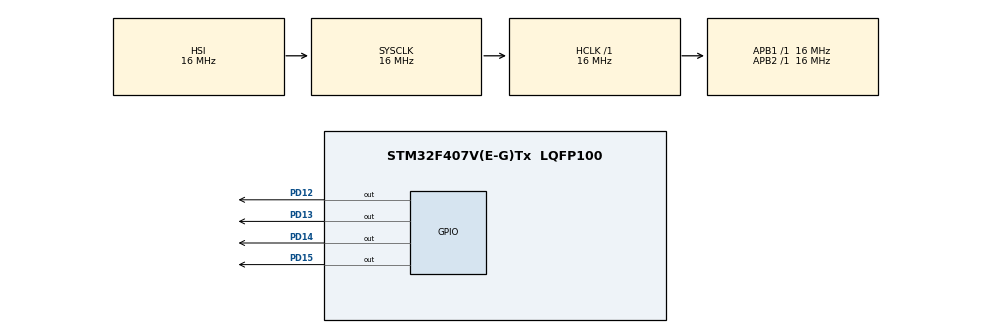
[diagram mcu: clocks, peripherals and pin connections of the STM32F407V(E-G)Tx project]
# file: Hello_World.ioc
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Mcu.Family=STM32F4
Mcu.Name=STM32F407V(E-G)Tx
Mcu.Package=LQFP100
NVIC.PriorityGroup=NVIC_PRIORITYGROUP_4
PD12.Signal=GPIO_Output
PD13.Signal=GPIO_Output
PD14.Signal=GPIO_Output
PD15.Signal=GPIO_Output
ProjectManager.HeapSize=0x200
ProjectManager.StackSize=0x400
ProjectManager.TargetToolchain=STM32CubeIDE
RCC.AHBFreq_Value=16000000
RCC.APB1Freq_Value=16000000
RCC.APB2Freq_Value=16000000
RCC.CortexFreq_Value=16000000
RCC.HSE_VALUE=25000000
RCC.HSI_VALUE=16000000
RCC.LSE_VALUE=32768
RCC.SYSCLKFreq_VALUE=16000000
RCC.VCOOutputFreq_Value=192000000
board=custom

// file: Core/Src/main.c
/* USER CODE BEGIN Header */
/**
  ******************************************************************************
  * @file           : main.c
  * @brief          : Main program body
  ******************************************************************************
  * @attention
  *
  * <h2><center>&copy; Copyright (c) 2021 STMicroelectronics.
  * All rights reserved.</center></h2>
  *
  * This software component is licensed by ST under BSD 3-Clause license,
  * the "License"; You may not use this file except in compliance with the
  * License. You may obtain a copy of the License at:
  *                        opensource.org/licenses/BSD-3-Clause
  *
  ******************************************************************************
  */
/* USER CODE END Header */
#include "main.h"

void SystemClock_Config(void);
static void MX_GPIO_Init(void);

int main(void)
{
  /* USER CODE BEGIN 1 */
	unsigned int  LD_1_4, counter = 0; //Обьявление переменной для адресов ПИНОВ, и обьявление счетчика;
  /* USER CODE END 1 */

  /* MCU Configuration--------------------------------------------------------*/

  /* Reset of all peripherals, Initializes the Flash interface and the Systick. */
  HAL_Init();

  /* Configure the system clock */
  SystemClock_Config();

  /* Initialize all configured peripherals */
  MX_GPIO_Init();

  /* Infinite loop */
  /* USER CODE BEGIN WHILE */
  while (1)
  {
	  	  for(int i=0; i<5; i++) //Цикл для горения светодиодов LD1-LD4 по часовой стрелке
	  	  {
	  		  LD_1_4 = GPIO_PIN_12;
	  		  counter = 0;
	  		  while (counter++<4)
	  		  {
	  			  HAL_GPIO_WritePin(GPIOD, LD_1_4, GPIO_PIN_SET);
	  			  HAL_Delay(100);
	  			  HAL_GPIO_WritePin(GPIOD, LD_1_4, GPIO_PIN_RESET);
	  			  LD_1_4 *= 2;
	  		  }
	  	  }

	  	  for(int i=0; i<5; i++) //Цикл для горения светодиодов LD1-LD4 против часовой стрелке
	  	  {
	  		  counter = 0;
	  		  LD_1_4 = GPIO_PIN_15;
	  		  while (counter++<4)
	  		  		  {
	  		  			  HAL_GPIO_WritePin(GPIOD, LD_1_4, GPIO_PIN_SET);
	  		  			  HAL_Delay(100);
	  		  			  HAL_GPIO_WritePin(GPIOD, LD_1_4, GPIO_PIN_RESET);
	  		  			  LD_1_4 /= 2;
	  		  		  }
	  	  }
	  	  for(int i=0; i<2; i++) //Цикл для горения всех светодиодов одновременно
	  	  	  {
	  		  HAL_GPIO_WritePin(GPIOD, GPIO_PIN_13|GPIO_PIN_14|GPIO_PIN_15|GPIO_PIN_12, GPIO_PIN_SET);
	  		  HAL_Delay(400);

	  		  HAL_GPIO_WritePin(GPIOD, GPIO_PIN_13|GPIO_PIN_14|GPIO_PIN_15|GPIO_PIN_12, GPIO_PIN_RESET);
	  		  HAL_Delay(400);
	  	  	  }
    /* USER CODE END WHILE */

  }
}

void SystemClock_Config(void)
{
  RCC_OscInitTypeDef RCC_OscInitStruct = {0};
  RCC_ClkInitTypeDef RCC_ClkInitStruct = {0};

  /** Configure the main internal regulator output voltage
  */
  __HAL_RCC_PWR_CLK_ENABLE();
  __HAL_PWR_VOLTAGESCALING_CONFIG(PWR_REGULATOR_VOLTAGE_SCALE1);
  /** Initializes the RCC Oscillators according to the specified parameters
  * in the RCC_OscInitTypeDef structure.
  */
  RCC_OscInitStruct.OscillatorType = RCC_OSCILLATORTYPE_HSI;
  RCC_OscInitStruct.HSIState = RCC_HSI_ON;
  RCC_OscInitStruct.HSICalibrationValue = RCC_HSICALIBRATION_DEFAULT;
  RCC_OscInitStruct.PLL.PLLState = RCC_PLL_NONE;
  if (HAL_RCC_OscConfig(&RCC_OscInitStruct) != HAL_OK)
  {
    Error_Handler();
  }
  /** Initializes the CPU, AHB and APB buses clocks
  */
  RCC_ClkInitStruct.ClockType = RCC_CLOCKTYPE_HCLK|RCC_CLOCKTYPE_SYSCLK
                              |RCC_CLOCKTYPE_PCLK1|RCC_CLOCKTYPE_PCLK2;
  RCC_ClkInitStruct.SYSCLKSource = RCC_SYSCLKSOURCE_HSI;
  RCC_ClkInitStruct.AHBCLKDivider = RCC_SYSCLK_DIV1;
  RCC_ClkInitStruct.APB1CLKDivider = RCC_HCLK_DIV1;
  RCC_ClkInitStruct.APB2CLKDivider = RCC_HCLK_DIV1;

  if (HAL_RCC_ClockConfig(&RCC_ClkInitStruct, FLASH_LATENCY_0) != HAL_OK)
  {
    Error_Handler();
  }
}

static void MX_GPIO_Init(void)
{
  GPIO_InitTypeDef GPIO_InitStruct = {0};

  /* GPIO Ports Clock Enable */
  __HAL_RCC_GPIOD_CLK_ENABLE();

  /*Configure GPIO pin Output Level */
  HAL_GPIO_WritePin(GPIOD, GPIO_PIN_12|GPIO_PIN_13|GPIO_PIN_14|GPIO_PIN_15, GPIO_PIN_RESET);

  /*Configure GPIO pins : PD12 PD13 PD14 PD15 */
  GPIO_InitStruct.Pin = GPIO_PIN_12|GPIO_PIN_13|GPIO_PIN_14|GPIO_PIN_15;
  GPIO_InitStruct.Mode = GPIO_MODE_OUTPUT_PP;
  GPIO_InitStruct.Pull = GPIO_NOPULL;
  GPIO_InitStruct.Speed = GPIO_SPEED_FREQ_LOW;
  HAL_GPIO_Init(GPIOD, &GPIO_InitStruct);

}

void Error_Handler(void)
{
  __disable_irq();
  while (1)
  {
  }
}

/************************ (C) COPYRIGHT STMicroelectronics *****END OF FILE****/
